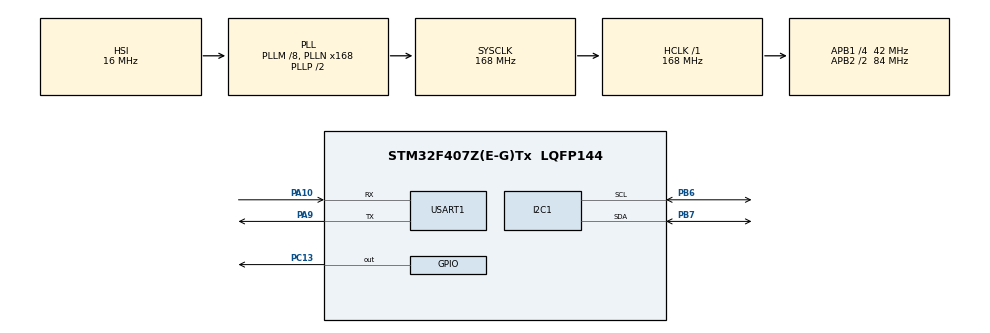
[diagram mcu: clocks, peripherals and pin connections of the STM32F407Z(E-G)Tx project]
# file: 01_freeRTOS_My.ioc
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Dma.Request0=USART1_RX
Dma.Request1=USART1_TX
Dma.USART1_RX.0.Direction=DMA_PERIPH_TO_MEMORY
Dma.USART1_RX.0.FIFOMode=DMA_FIFOMODE_DISABLE
Dma.USART1_RX.0.Instance=DMA2_Stream2
Dma.USART1_RX.0.MemDataAlignment=DMA_MDATAALIGN_BYTE
Dma.USART1_RX.0.MemInc=DMA_MINC_ENABLE
Dma.USART1_RX.0.Mode=DMA_NORMAL
Dma.USART1_RX.0.PeriphDataAlignment=DMA_PDATAALIGN_BYTE
Dma.USART1_RX.0.PeriphInc=DMA_PINC_DISABLE
Dma.USART1_RX.0.Priority=DMA_PRIORITY_LOW
Dma.USART1_TX.1.Direction=DMA_MEMORY_TO_PERIPH
Dma.USART1_TX.1.FIFOMode=DMA_FIFOMODE_DISABLE
Dma.USART1_TX.1.Instance=DMA2_Stream7
Dma.USART1_TX.1.MemDataAlignment=DMA_MDATAALIGN_BYTE
Dma.USART1_TX.1.MemInc=DMA_MINC_ENABLE
Dma.USART1_TX.1.Mode=DMA_NORMAL
Dma.USART1_TX.1.PeriphDataAlignment=DMA_PDATAALIGN_BYTE
Dma.USART1_TX.1.PeriphInc=DMA_PINC_DISABLE
Dma.USART1_TX.1.Priority=DMA_PRIORITY_LOW
FREERTOS.Tasks01=defaultTask,24,128,StartDefaultTask,Default,NULL
Mcu.Family=STM32F4
Mcu.Name=STM32F407Z(E-G)Tx
Mcu.Package=LQFP144
NVIC.DMA2_Stream2_IRQn=true\:5\:0\:false\:false\:true\:true\:false\:true
NVIC.DMA2_Stream7_IRQn=true\:5\:0\:false\:false\:true\:true\:false\:true
NVIC.I2C1_ER_IRQn=true\:5\:0\:false\:false\:true\:true\:true\:true
NVIC.I2C1_EV_IRQn=true\:5\:0\:false\:false\:true\:true\:true\:true
NVIC.PriorityGroup=NVIC_PRIORITYGROUP_4
NVIC.TIM4_IRQn=true\:0\:0\:false\:false\:true\:false\:false\:true
NVIC.TimeBase=TIM4_IRQn
NVIC.TimeBaseIP=TIM4
NVIC.USART1_IRQn=true\:5\:0\:false\:false\:true\:true\:true\:true
PA10.Mode=Asynchronous
PA10.Signal=USART1_RX
PA13.Mode=Serial_Wire
PA13.Signal=SYS_JTMS-SWDIO
PA14.Mode=Serial_Wire
PA14.Signal=SYS_JTCK-SWCLK
PA9.Mode=Asynchronous
PA9.Signal=USART1_TX
PB6.Mode=I2C
PB6.Signal=I2C1_SCL
PB7.Mode=I2C
PB7.Signal=I2C1_SDA
PC13-ANTI_TAMP.Signal=GPIO_Output
PH0-OSC_IN.Mode=HSE-External-Oscillator
PH0-OSC_IN.Signal=RCC_OSC_IN
PH1-OSC_OUT.Mode=HSE-External-Oscillator
PH1-OSC_OUT.Signal=RCC_OSC_OUT
ProjectManager.HeapSize=0x200
ProjectManager.StackSize=0x400
ProjectManager.TargetToolchain=MDK-ARM V5
RCC.48MHZClocksFreq_Value=84000000
RCC.AHBFreq_Value=168000000
RCC.APB1CLKDivider=RCC_HCLK_DIV4
RCC.APB1Freq_Value=42000000
RCC.APB1TimFreq_Value=84000000
RCC.APB2CLKDivider=RCC_HCLK_DIV2
RCC.APB2Freq_Value=84000000
RCC.APB2TimFreq_Value=168000000
RCC.CortexFreq_Value=168000000
RCC.HCLKFreq_Value=168000000
RCC.HSE_VALUE=8000000
RCC.HSI_VALUE=16000000
RCC.LSE_VALUE=32768
RCC.PLLM=8
RCC.PLLN=168
RCC.SYSCLKFreq_VALUE=168000000
RCC.SYSCLKSource=RCC_SYSCLKSOURCE_PLLCLK
RCC.VCOOutputFreq_Value=336000000
USART1.VirtualMode=VM_ASYNC
VP_FREERTOS_VS_CMSIS_V2.Mode=CMSIS_V2
VP_SYS_VS_tim4.Mode=TIM4
board=custom

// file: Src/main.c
/* USER CODE BEGIN Header */
/**
  ******************************************************************************
  * @file           : main.c
  * @brief          : Main program body
  ******************************************************************************
  * @attention
  *
  * <h2><center>&copy; Copyright (c) 2026 STMicroelectronics.
  * All rights reserved.</center></h2>
  *
  * This software component is licensed by ST under Ultimate Liberty license
  * SLA0044, the "License"; You may not use this file except in compliance with
  * the License. You may obtain a copy of the License at:
  *                             www.st.com/SLA0044
  *
  ******************************************************************************
  */
/* USER CODE END Header */

#include "main.h"
#include "cmsis_os.h"
#include "dma.h"
#include "i2c.h"
#include "usart.h"
#include "gpio.h"

void SystemClock_Config(void);
void MX_FREERTOS_Init(void);

int main(void)
{

  /* MCU Configuration--------------------------------------------------------*/

  /* Reset of all peripherals, Initializes the Flash interface and the Systick. */
  HAL_Init();

  /* Configure the system clock */
  SystemClock_Config();

  /* Initialize all configured peripherals */
  MX_GPIO_Init();
  MX_DMA_Init();
  MX_I2C1_Init();
  MX_USART1_UART_Init();

  /* Call init function for freertos objects (in freertos.c) */
  MX_FREERTOS_Init();

  /* Start scheduler */
  osKernelStart();

  /* We should never get here as control is now taken by the scheduler */

  /* Infinite loop */
  while (1)
  {

  }
}

void SystemClock_Config(void)
{
  RCC_OscInitTypeDef RCC_OscInitStruct = {0};
  RCC_ClkInitTypeDef RCC_ClkInitStruct = {0};

  /** Configure the main internal regulator output voltage
  */
  __HAL_RCC_PWR_CLK_ENABLE();
  __HAL_PWR_VOLTAGESCALING_CONFIG(PWR_REGULATOR_VOLTAGE_SCALE1);
  /** Initializes the CPU, AHB and APB busses clocks
  */
  RCC_OscInitStruct.OscillatorType = RCC_OSCILLATORTYPE_HSI;
  RCC_OscInitStruct.HSIState = RCC_HSI_ON;
  RCC_OscInitStruct.HSICalibrationValue = RCC_HSICALIBRATION_DEFAULT;
  RCC_OscInitStruct.PLL.PLLState = RCC_PLL_ON;
  RCC_OscInitStruct.PLL.PLLSource = RCC_PLLSOURCE_HSI;
  RCC_OscInitStruct.PLL.PLLM = 8;
  RCC_OscInitStruct.PLL.PLLN = 168;
  RCC_OscInitStruct.PLL.PLLP = RCC_PLLP_DIV2;
  RCC_OscInitStruct.PLL.PLLQ = 4;
  if (HAL_RCC_OscConfig(&RCC_OscInitStruct) != HAL_OK)
  {
    Error_Handler();
  }
  /** Initializes the CPU, AHB and APB busses clocks
  */
  RCC_ClkInitStruct.ClockType = RCC_CLOCKTYPE_HCLK|RCC_CLOCKTYPE_SYSCLK
                              |RCC_CLOCKTYPE_PCLK1|RCC_CLOCKTYPE_PCLK2;
  RCC_ClkInitStruct.SYSCLKSource = RCC_SYSCLKSOURCE_PLLCLK;
  RCC_ClkInitStruct.AHBCLKDivider = RCC_SYSCLK_DIV1;
  RCC_ClkInitStruct.APB1CLKDivider = RCC_HCLK_DIV4;
  RCC_ClkInitStruct.APB2CLKDivider = RCC_HCLK_DIV2;

  if (HAL_RCC_ClockConfig(&RCC_ClkInitStruct, FLASH_LATENCY_5) != HAL_OK)
  {
    Error_Handler();
  }
}

void HAL_TIM_PeriodElapsedCallback(TIM_HandleTypeDef *htim)
{
  if (htim->Instance == TIM4) {
    HAL_IncTick();
  }
}

void Error_Handler(void)
{
}

/************************ (C) COPYRIGHT STMicroelectronics *****END OF FILE****/

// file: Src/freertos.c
/* USER CODE BEGIN Header */
/**
  ******************************************************************************
  * File Name          : freertos.c
  * Description        : Code for freertos applications
  ******************************************************************************
  * @attention
  *
  * <h2><center>&copy; Copyright (c) 2026 STMicroelectronics.
  * All rights reserved.</center></h2>
  *
  * This software component is licensed by ST under Ultimate Liberty license
  * SLA0044, the "License"; You may not use this file except in compliance with
  * the License. You may obtain a copy of the License at:
  *                             www.st.com/SLA0044
  *
  ******************************************************************************
  */
/* USER CODE END Header */

#include "FreeRTOS.h"
#include "task.h"
#include "main.h"
#include "cmsis_os.h"

/* USER CODE BEGIN Includes */
#include "usart.h"
#include "i2c.h"
#include <string.h>
/* USER CODE END Includes */

/* USER CODE BEGIN PD */
/* Adjust I2C address and buffer size to your hardware/protocol */
#define I2C_PASSTHROUGH_ADDR (0x50U << 1)
#define USART1_RX_BUF_SIZE   128U
/* USER CODE END PD */

/* USER CODE BEGIN Variables */
static volatile uint8_t usart1_tx_done = 1;
osThreadId_t usart1TaskHandle;
static uint8_t usart1_rx_buf[USART1_RX_BUF_SIZE];
static uint8_t usart1_i2c_buf[USART1_RX_BUF_SIZE];
static volatile uint16_t usart1_i2c_len = 0;
static uint8_t usart1_rx_byte = 0;
static volatile uint16_t usart1_rx_len = 0;
/* USER CODE END Variables */
osThreadId_t defaultTaskHandle;

/* USER CODE BEGIN FunctionPrototypes */
void StartUsart1Task(void *argument);
/* USER CODE END FunctionPrototypes */

void StartDefaultTask(void *argument);

void MX_FREERTOS_Init(void); /* (MISRA C 2004 rule 8.1) */

void MX_FREERTOS_Init(void) {
osKernelInitialize();

  /* Create the thread(s) */
  /* definition and creation of defaultTask */
  const osThreadAttr_t defaultTask_attributes = {
    .name = "defaultTask",
    .priority = (osPriority_t) osPriorityNormal,
    .stack_size = 128
  };
  defaultTaskHandle = osThreadNew(StartDefaultTask, NULL, &defaultTask_attributes);

  /* USER CODE BEGIN RTOS_THREADS */
  const osThreadAttr_t usart1Task_attributes = {
    .name = "usart1Task",
    .priority = (osPriority_t) osPriorityNormal,
    .stack_size = 256
  };
  usart1TaskHandle = osThreadNew(StartUsart1Task, NULL, &usart1Task_attributes);
  /* USER CODE END RTOS_THREADS */

}

void StartDefaultTask(void *argument)
{

  /* USER CODE BEGIN StartDefaultTask */
  /* Infinite loop */
  for(;;)
  {
    HAL_GPIO_TogglePin(GPIOC, GPIO_PIN_13);
    osDelay(500);
  }
  /* USER CODE END StartDefaultTask */
}

/* USER CODE BEGIN Application */
void StartUsart1Task(void *argument)
{
  /* USER CODE BEGIN StartUsart1Task */
  (void)HAL_UART_Receive_IT(&huart1, &usart1_rx_byte, 1U);

  for(;;)
  {
    (void)osThreadFlagsWait(0x01U, osFlagsWaitAny, osWaitForever);
    if (usart1_i2c_len > 0U)
    {
      (void)HAL_I2C_Master_Transmit(&hi2c1, I2C_PASSTHROUGH_ADDR, usart1_i2c_buf, usart1_i2c_len, 100);
      usart1_i2c_len = 0U;
    }
  }
  /* USER CODE END StartUsart1Task */
}

void HAL_UART_TxCpltCallback(UART_HandleTypeDef *huart)
{
  if (huart->Instance == USART1)
  {
    usart1_tx_done = 1;
  }
}

void HAL_UART_ErrorCallback(UART_HandleTypeDef *huart)
{
  if (huart->Instance == USART1)
  {
    (void)HAL_UART_AbortTransmit(huart);
    usart1_tx_done = 1;
  }
}

void HAL_UART_RxCpltCallback(UART_HandleTypeDef *huart)
{
  if (huart->Instance == USART1)
  {
    if (usart1_rx_len < USART1_RX_BUF_SIZE)
    {
      usart1_rx_buf[usart1_rx_len++] = usart1_rx_byte;
    }

    /* Frame end condition: newline or buffer full */
    if ((usart1_rx_byte == 0xFF) || (usart1_rx_len >= USART1_RX_BUF_SIZE))
    {
      memcpy(usart1_i2c_buf, usart1_rx_buf, usart1_rx_len);
      usart1_i2c_len = usart1_rx_len;
      usart1_rx_len = 0;
      (void)osThreadFlagsSet(usart1TaskHandle, 0x01U);
    }

    (void)HAL_UART_Receive_IT(&huart1, &usart1_rx_byte, 1U);
  }
}
/* USER CODE END Application */

/************************ (C) COPYRIGHT STMicroelectronics *****END OF FILE****/
